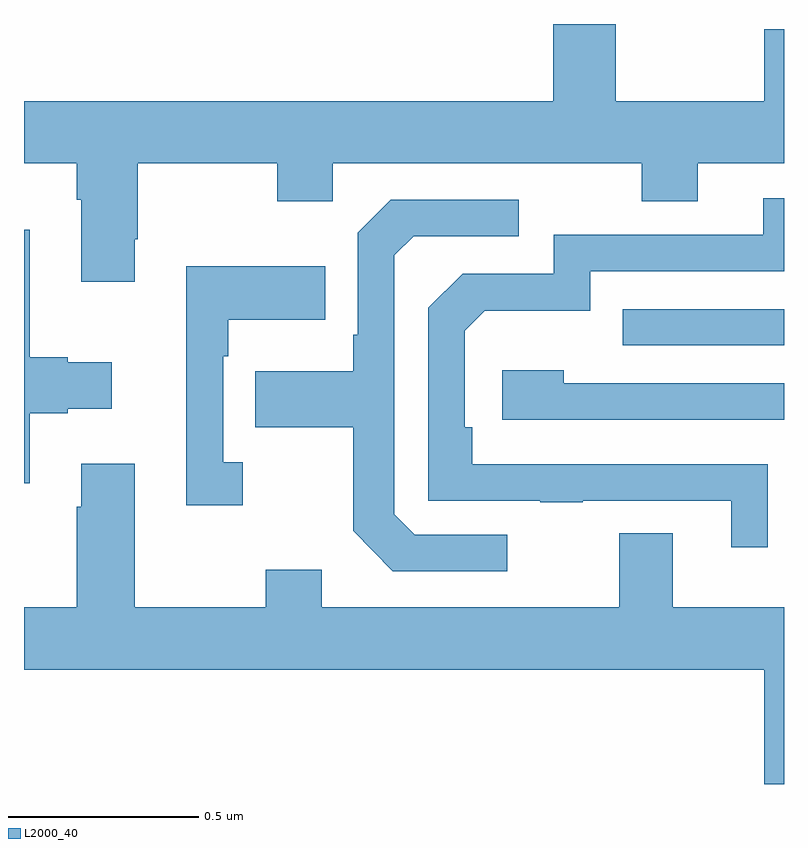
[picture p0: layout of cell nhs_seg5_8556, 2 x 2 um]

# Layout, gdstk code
import gdstk
lib = gdstk.Library(unit=1e-6, precision=1e-09)
def R(c, l, rs):  # rectangles x0, y0, x1, y1
    for r in rs: c.add(gdstk.rectangle(r[:2], r[2:], *l))
def P(c, l, *ps):  # polygons
    for p in ps: c.add(gdstk.Polygon(p, *l))
L2000_40 = (2000, 40)

nhs_seg5_8556 = lib.new_cell('nhs_seg5_8556')
R(nhs_seg5_8556, L2000_40, [(224.575,850.953,225,851.049)])
P(nhs_seg5_8556, L2000_40, [(223.291,851.233),(223.299,851.233),(223.299,851.432),(223.666,851.432),(223.666,851.333),(223.812,851.333),(223.812,851.432),(224.626,851.432),(224.626,851.333),(224.773,851.333),(224.773,851.432),(225,851.432),(225,851.785),(224.948,851.785),(224.948,851.596),(224.557,851.596),(224.557,851.799),(224.393,851.799),(224.393,851.596),(223,851.596),(223,851.432),(223.139,851.432),(223.139,851.336),(223.151,851.336),(223.151,851.121),(223.291,851.121)],
  [(224.957,850.64),(224.855,850.64),(224.855,850.641),(224.18,850.641),(224.18,850.738),(224.16,850.738),(224.16,850.992),(224.213,851.045),(224.49,851.045),(224.49,851.148),(225,851.148),(225,851.34),(224.945,851.34),(224.945,851.244),(224.394,851.244),(224.394,851.142),(224.154,851.142),(224.064,851.052),(224.064,850.545),(224.359,850.545),(224.359,850.54),(224.471,850.54),(224.471,850.545),(224.861,850.545),(224.861,850.422),(224.957,850.422)],
  [(224.272,850.455),(224.028,850.455),(223.974,850.509),(223.974,851.19),(224.025,851.241),(224.302,851.241),(224.302,851.337),(223.965,851.337),(223.878,851.25),(223.878,850.981),(223.866,850.981),(223.866,850.885),(223.609,850.885),(223.609,850.738),(223.866,850.738),(223.866,850.465),(223.971,850.359),(224.272,850.359)],
  [(223.015,850.775),(223.115,850.775),(223.115,850.787),(223.231,850.787),(223.231,850.909),(223.115,850.909),(223.115,850.922),(223.015,850.922),(223.015,851.257),(223,851.257),(223,850.59),(223.015,850.59)],
  [(223.576,850.646),(223.524,850.646),(223.524,850.925),(223.537,850.925),(223.537,851.021),(223.793,851.021),(223.793,851.161),(223.427,851.161),(223.427,850.533),(223.576,850.533)],
  [(225,850.854),(224.42,850.854),(224.42,850.888),(224.259,850.888),(224.259,850.758),(225,850.758)],
  [(225,850.264),(224.707,850.264),(224.707,850.459),(224.567,850.459),(224.567,850.264),(223.783,850.264),(223.783,850.363),(223.636,850.363),(223.636,850.264),(223.291,850.264),(223.291,850.642),(223.151,850.642),(223.151,850.529),(223.139,850.529),(223.139,850.264),(223,850.264),(223,850.1),(224.948,850.1),(224.948,849.799),(225,849.799)])

lib.write_gds('nhs_seg5_8556.gds')
